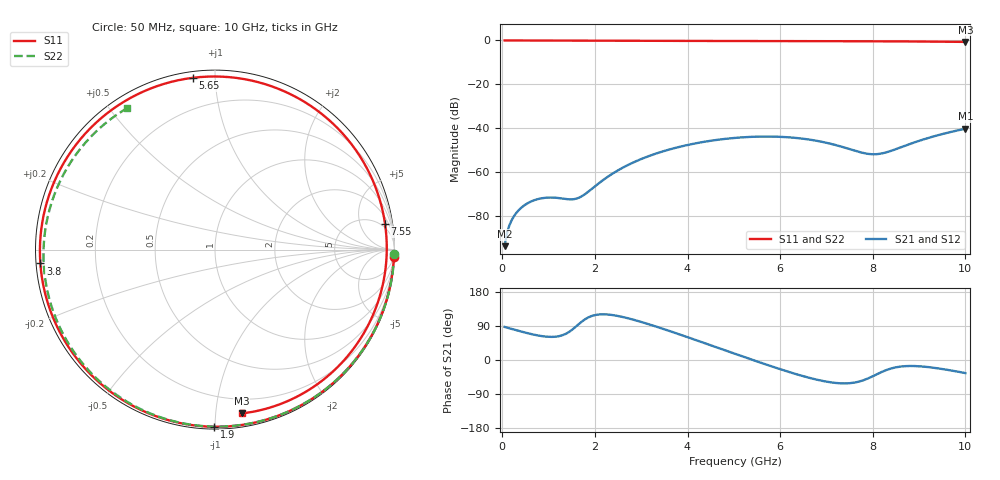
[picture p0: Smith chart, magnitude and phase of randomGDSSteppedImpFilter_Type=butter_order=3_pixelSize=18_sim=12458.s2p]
! freq	dB(S11)	phase(S11)	dB(S12)	phase(S12)
!  dB(S21)	phase(S21)	dB(S22)	phase(S22)
!S-par simulation data
#  GHz  S  DB  R 50
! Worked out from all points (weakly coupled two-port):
!   200 points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, 50 MHz to 10 GHz, reference 50 ohm
!   highest |S21| = -40.26 dB at 10 GHz (marker M1); lowest = -93.8 dB at 50 MHz (marker M2)
!   lowest |S11| = -0.7 dB at 10 GHz (marker M3), VSWR 25.57, Z = 4.65 - j58.6 ohm
!   |S11| at or under -10 dB: nowhere
!   |S22| runs from -0.7 to 0.0 dB; largest |S21 - S12| = 0
!   S11 on the Smith chart (normalised r, x): 50 MHz: 2, -49; 1.9 GHz: 0.01, -0.99; 3.8 GHz: 0.01, -0.04; 5.65 GHz: 0.03, +0.88; 7.55 GHz: 4, +12; 10 GHz: 0.09, -1.17
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0.05  -0.02 -2.4  -93.84 87.2  -93.84 87.2  -0.01 -1.3
0.25  -0.03 -12.2  -80.24 80.4  -80.24 80.4  -0.02 -6.4
0.45  -0.04 -21.9  -75.62 73.8  -75.62 73.8  -0.02 -11.6
0.75  -0.05 -36.4  -72.48 65.2  -72.48 65.2  -0.03 -19.2
1.25  -0.08 -60.2  -71.98 63.6  -71.98 63.6  -0.04 -31.9
1.55  -0.09 -74.2  -72.38 84.0  -72.38 84.0  -0.05 -39.4
1.75  -0.10 -83.4  -70.64 104.3  -70.64 104.3  -0.06 -44.3
1.9  -0.11 -90.3  -68.28 114.7  -68.28 114.7  -0.06 -48.0
2.6  -0.15 -121.8  -58.06 113.5  -58.06 113.5  -0.08 -64.8
3.4  -0.19 -157.5  -51.05 85.1  -51.05 85.1  -0.11 -83.4
3.8  -0.21 -175.5  -48.68 68.7  -48.68 68.7  -0.12 -92.5
4.4  -0.24 157.1  -46.10 43.2  -46.10 43.2  -0.15 -105.8
5.05  -0.28 126.4  -44.42 15.3  -44.42 15.3  -0.18 -119.9
5.65  -0.31 97.4  -43.84 -10.0  -43.84 -10.0  -0.22 -132.9
6.15  -0.33 73.1  -44.14 -30.0  -44.14 -30.0  -0.25 -143.7
6.7  -0.34 46.9  -45.45 -49.2  -45.45 -49.2  -0.30 -155.7
7.15  -0.36 26.1  -47.45 -59.9  -47.45 -59.9  -0.34 -165.7
7.55  -0.37 8.6  -49.91 -60.6  -49.91 -60.6  -0.37 -174.8
8  -0.40 -10.1  -51.92 -42.9  -51.92 -42.9  -0.42 174.7
8.35  -0.42 -23.9  -50.69 -24.1  -50.69 -24.1  -0.46 166.2
9.2  -0.53 -54.5  -44.48 -18.7  -44.48 -18.7  -0.56 144.3
10  -0.68 -80.8  -40.26 -34.5  -40.26 -34.5  -0.65 121.7
